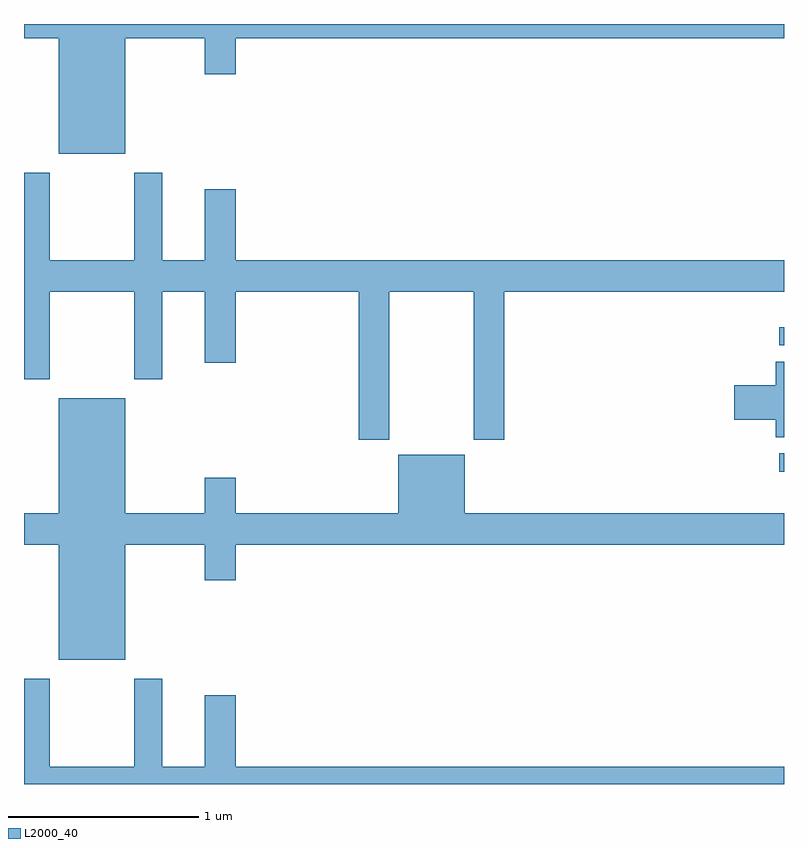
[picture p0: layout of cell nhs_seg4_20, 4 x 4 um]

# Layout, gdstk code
import gdstk
lib = gdstk.Library(unit=1e-6, precision=1e-09)
def R(c, l, rs):  # rectangles x0, y0, x1, y1
    for r in rs: c.add(gdstk.rectangle(r[:2], r[2:], *l))
def P(c, l, *ps):  # polygons
    for p in ps: c.add(gdstk.Polygon(p, *l))
L2000_40 = (2000, 40)

nhs_seg4_20 = lib.new_cell('nhs_seg4_20')
R(nhs_seg4_20, L2000_40, [(114.975,790.543,115,790.641), (114.975,791.208,115,791.304)])
P(nhs_seg4_20, L2000_40, [(111.532,792.824),(111.95,792.824),(111.95,792.636),(112.114,792.636),(112.114,792.824),(115,792.824),(115,792.9),(111,792.9),(111,792.824),(111.182,792.824),(111.182,792.218),(111.532,792.218)],
  [(112.923,791.492),(113.368,791.492),(113.368,790.713),(113.528,790.713),(113.528,791.492),(115,791.492),(115,791.656),(112.114,791.656),(112.114,792.031),(111.95,792.031),(111.95,791.656),(111.727,791.656),(111.727,792.118),(111.58,792.118),(111.58,791.656),(111.135,791.656),(111.135,792.118),(111,792.118),(111,791.031),(111.135,791.031),(111.135,791.492),(111.58,791.492),(111.58,791.031),(111.727,791.031),(111.727,791.492),(111.95,791.492),(111.95,791.118),(112.114,791.118),(112.114,791.492),(112.763,791.492),(112.763,790.713),(112.923,790.713)],
  [(115,791.123),(114.956,791.123),(114.956,791),(114.738,791),(114.738,790.817),(114.956,790.817),(114.956,790.726),(115,790.726)],
  [(111.532,790.16),(111.95,790.16),(111.95,789.972),(112.114,789.972),(112.114,790.16),(115,790.16),(115,790.324),(113.32,790.324),(113.32,790.633),(112.97,790.633),(112.97,790.324),(112.114,790.324),(112.114,790.513),(111.95,790.513),(111.95,790.324),(111.532,790.324),(111.532,790.93),(111.182,790.93),(111.182,790.324),(111,790.324),(111,790.16),(111.182,790.16),(111.182,789.554),(111.532,789.554)],
  [(115,788.992),(112.114,788.992),(112.114,789.367),(111.95,789.367),(111.95,788.992),(111.727,788.992),(111.727,789.454),(111.58,789.454),(111.58,788.992),(111.135,788.992),(111.135,789.454),(111,789.454),(111,788.9),(115,788.9)])

lib.write_gds('nhs_seg4_20.gds')
